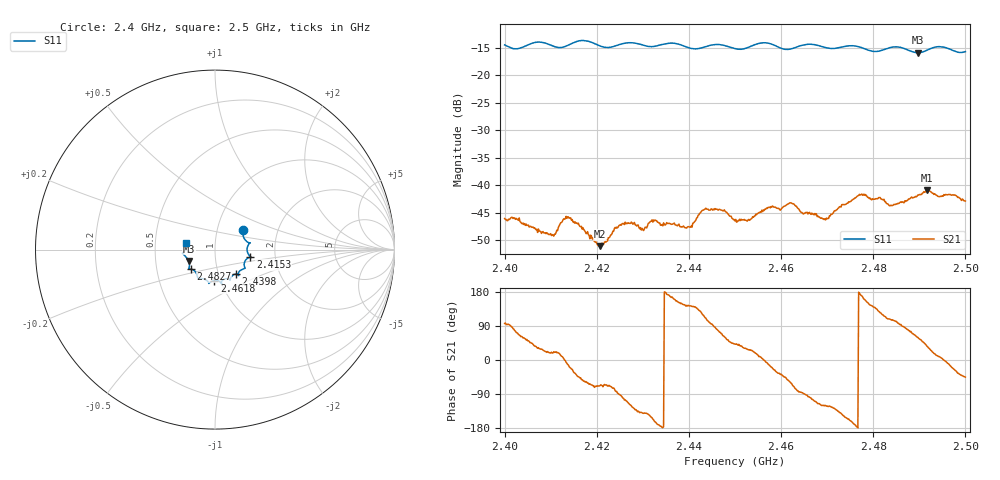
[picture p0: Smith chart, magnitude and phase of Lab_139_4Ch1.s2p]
# Hz S RI R 50
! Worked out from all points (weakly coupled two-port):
!   601 points, 2.4 GHz to 2.5 GHz, reference 50 ohm
!   highest |S21| = -40.93 dB at 2.4917 GHz (marker M1); lowest = -51.1 dB at 2.4207 GHz (marker M2)
!   lowest |S11| = -15.9 dB at 2.4897 GHz (marker M3), VSWR 1.38, Z = 36.9 - j4.84 ohm
!   |S11| at or under -10 dB: start of sweep to end of sweep
!   S12 and S22 are empty: the file has one direction only
!   S11 on the Smith chart (normalised r, x): 2.4 GHz: 1.33, +0.30; 2.4153 GHz: 1.48, -0.12; 2.4398 GHz: 1.21, -0.34; 2.4618 GHz: 0.94, -0.33; 2.4827 GHz: 0.75, -0.17; 2.5 GHz: 0.72, +0.06
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2.4e9  0.1554 0.107  -0.000562 0.00493  0 0  0 0
2.410167e9  0.1849 0.0246  0.00326 0.00122  0 0  0 0
2.413333e9  0.1831 -0.0196  0.00517 -0.000543  0 0  0 0
2.415333e9  0.1966 -0.0396  0.00376 -0.00268  0 0  0 0
2.416667e9  0.2023 -0.0436  0.00262 -0.00331  0 0  0 0
2.420667e9  0.178 -0.0504  0.00104 -0.00258  0 0  0 0
2.425333e9  0.1653 -0.0984  -0.000352 -0.00431  0 0  0 0
2.429833e9  0.1545 -0.1092  -0.00306 -0.00265  0 0  0 0
2.433333e9  0.13 -0.1337  -0.00453 -0.000738  0 0  0 0
2.439833e9  0.1155 -0.136  -0.00341 0.00244  0 0  0 0
2.443667e9  0.0861 -0.1608  -0.00217 0.00578  0 0  0 0
2.45e9  0.065 -0.1622  0.0035 0.00317  0 0  0 0
2.456333e9  0.0385 -0.1937  0.00588 -4.69e-05  0 0  0 0
2.461833e9  -0.00309 -0.1725  0.00377 -0.00578  0 0  0 0
2.466667e9  -0.0343 -0.1882  -0.00132 -0.00541  0 0  0 0
2.469833e9  -0.0464 -0.1717  -0.00264 -0.00427  0 0  0 0
2.477333e9  -0.0977 -0.1504  -0.0081 0.00135  0 0  0 0
2.482667e9  -0.1348 -0.1085  -0.00289 0.00646  0 0  0 0
2.483333e9  -0.14 -0.1082  -0.00208 0.00629  0 0  0 0
2.489667e9  -0.147 -0.0639  0.00407 0.00704  0 0  0 0
2.491667e9  -0.1648 -0.0376  0.00725 0.0053  0 0  0 0
2.5e9  -0.1595 0.0387  0.00505 -0.00509  0 0  0 0
